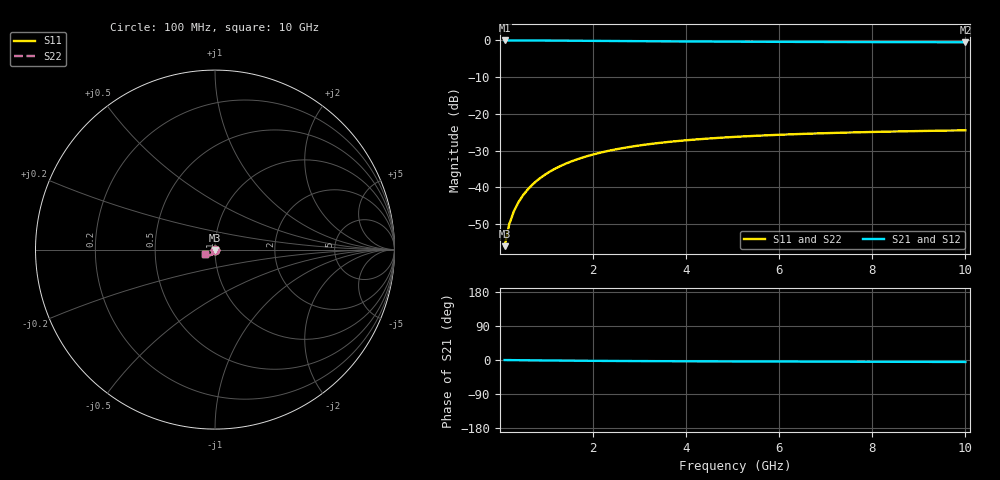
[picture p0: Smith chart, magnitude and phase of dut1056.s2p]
! Touchstone file exported from HFSS 2024.1.0
!  File:  C:/UserFiles/LocalFiles/RDL_TSV_Batchsim/temp_TSV1_1056_1780063032.aedt
!  Generated:  10:04:21 PM May 29, 2026
!  Design:  TSV1
!  Project:  temp_TSV1_1056_1780063032
!  Setup:  Setup1
!  Solution:  Sweep
! Variables:
!  dtsv = 12.43um
!  hbump = 3um
!  htsv = 79.47um
!  lrdl = 252.1521522um
!  p = 40
!  p1 = 43.16um
!  t = 500um
!  trdl = 3um
!  wrdl = 24.89489489um
# GHz S MA R 50.000000
! Terminal data exported
! Port[1] = TSV22_T1
! Port[2] = TSV22_T2
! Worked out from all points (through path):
!   100 points, 100 MHz to 10 GHz, reference 50 ohm
!   highest |S21| = 0.00 dB at 100 MHz (marker M1); lowest = -0.5 dB at 10 GHz (marker M2)
!   lowest |S11| = -56.1 dB at 100 MHz (marker M3), VSWR 1.00, Z = 50 - j0.157 ohm
!   |S11| at or under -10 dB: start of sweep to end of sweep
!   |S22| runs from -56.1 to -24.5 dB; largest |S21 - S12| = 6.6e-15
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0.1  0.001573 -88.0  0.9999 -0.1  0.9999 -0.1  0.001573 -88.0
! Gamma 0 0 0 0
! Port Impedance 50 0 50 0
0.2  0.003143 -91.1  0.9997 -0.3  0.9997 -0.3  0.003143 -91.1
0.3  0.004713 -93.1  0.9995 -0.4  0.9995 -0.4  0.004713 -93.1
0.4  0.006279 -94.8  0.9992 -0.5  0.9992 -0.5  0.006279 -94.8
0.5  0.007834 -96.5  0.9988 -0.6  0.9988 -0.6  0.007834 -96.5
0.6  0.009373 -98.1  0.9983 -0.8  0.9983 -0.8  0.009373 -98.1
0.7  0.01089 -99.7  0.9978 -0.9  0.9978 -0.9  0.01089 -99.7
0.8  0.01239 -101.2  0.9972 -1.0  0.9972 -1.0  0.01239 -101.2
0.9  0.01386 -102.7  0.9966 -1.1  0.9966 -1.1  0.01386 -102.7
1.1  0.01672 -105.6  0.9952 -1.3  0.9952 -1.3  0.01672 -105.6
1.4  0.02076 -109.8  0.9927 -1.7  0.9927 -1.7  0.02076 -109.8
1.6  0.02329 -112.4  0.9909 -1.9  0.9909 -1.9  0.02329 -112.4
1.8  0.02567 -114.9  0.989 -2.0  0.989 -2.0  0.02567 -114.9
2.1  0.02897 -118.4  0.9861 -2.3  0.9861 -2.3  0.02897 -118.4
2.5  0.0329 -122.7  0.9822 -2.6  0.9822 -2.6  0.0329 -122.7
2.9  0.03632 -126.5  0.9785 -2.8  0.9785 -2.8  0.03632 -126.5
3.4  0.03998 -130.7  0.9741 -3.1  0.9741 -3.1  0.03998 -130.7
4.2  0.04469 -136.4  0.9679 -3.4  0.9679 -3.4  0.04469 -136.4
5.1  0.04873 -141.5  0.9622 -3.7  0.9622 -3.7  0.04873 -141.5
6.7  0.05378 -148.5  0.9544 -4.2  0.9544 -4.2  0.05378 -148.5
8.4  0.05733 -153.9  0.9487 -4.7  0.9487 -4.7  0.05733 -153.9
10  0.05964 -157.9  0.9448 -5.2  0.9448 -5.2  0.05964 -157.9
